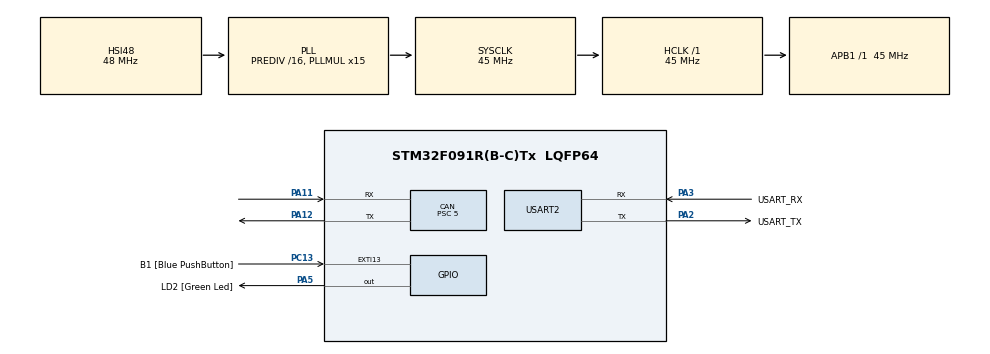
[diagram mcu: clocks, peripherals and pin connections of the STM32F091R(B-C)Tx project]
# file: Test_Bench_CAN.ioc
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CAN.BS1=CAN_BS1_15TQ
CAN.BS2=CAN_BS2_2TQ
CAN.CalculateBaudRate=500000
CAN.CalculateTimeBit=2000
CAN.CalculateTimeQuantum=111.11111111111111
CAN.Mode=CAN_MODE_LOOPBACK
CAN.Prescaler=5
Mcu.Family=STM32F0
Mcu.Name=STM32F091R(B-C)Tx
Mcu.Package=LQFP64
NVIC.CEC_CAN_IRQn=true\:0\:0\:false\:false\:true\:true\:true\:true
PA11.GPIO_PuPd=GPIO_PULLUP
PA11.Mode=CAN_Activate
PA11.Signal=CAN_RX
PA12.Mode=CAN_Activate
PA12.Signal=CAN_TX
PA13.GPIO_Label=TMS
PA13.Mode=Serial_Wire
PA13.Signal=SYS_SWDIO
PA14.GPIO_Label=TCK
PA14.Mode=Serial_Wire
PA14.Signal=SYS_SWCLK
PA2.GPIO_Label=USART_TX
PA2.GPIO_Mode=GPIO_MODE_AF_PP
PA2.GPIO_PuPd=GPIO_NOPULL
PA2.GPIO_Speed=GPIO_SPEED_FREQ_LOW
PA2.Mode=Asynchronous
PA2.Signal=USART2_TX
PA3.GPIO_Label=USART_RX
PA3.GPIO_Mode=GPIO_MODE_AF_PP
PA3.GPIO_PuPd=GPIO_NOPULL
PA3.GPIO_Speed=GPIO_SPEED_FREQ_LOW
PA3.Mode=Asynchronous
PA3.Signal=USART2_RX
PA5.GPIO_Label=LD2 [Green Led]
PA5.GPIO_Mode=GPIO_MODE_OUTPUT_PP
PA5.GPIO_PuPd=GPIO_NOPULL
PA5.GPIO_Speed=GPIO_SPEED_FREQ_LOW
PA5.Signal=GPIO_Output
PC13.GPIO_Label=B1 [Blue PushButton]
PC13.GPIO_ModeDefaultEXTI=GPIO_MODE_IT_FALLING
PC13.Signal=GPXTI13
PC14OSC32_IN.Mode=LSE-External-Oscillator
PC14OSC32_IN.Signal=RCC_OSC32_IN
PC15OSC32_OUT.Mode=LSE-External-Oscillator
PC15OSC32_OUT.Signal=RCC_OSC32_OUT
PF0-OSC_IN.Mode=HSE-External-Clock-Source
PF0-OSC_IN.Signal=RCC_OSC_IN
PF1-OSC_OUT.Signal=RCC_OSC_OUT
ProjectManager.HeapSize=0x200
ProjectManager.StackSize=0x400
ProjectManager.TargetToolchain=STM32CubeIDE
RCC.AHBFreq_Value=45000000
RCC.APB1Freq_Value=45000000
RCC.APB1TimFreq_Value=45000000
RCC.FLatency-AdvancedSettings=FLASH_LATENCY_1
RCC.HCLKFreq_Value=45000000
RCC.PLLDivider=RCC_PREDIV_DIV16
RCC.PLLMUL=RCC_PLL_MUL15
RCC.PLLSourceVirtual=RCC_PLLSOURCE_HSI48
RCC.PREFETCH_ENABLE-AdvancedSettings=1
RCC.SYSCLKFreq_VALUE=45000000
RCC.SYSCLKSource=RCC_SYSCLKSOURCE_PLLCLK
USART2.VirtualMode=VM_ASYNC
USART2.VirtualMode-Asynchronous=VM_ASYNC
board=NUCLEO-F091RC

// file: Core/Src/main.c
/* USER CODE BEGIN Header */
/**
  ******************************************************************************
  * @file           : main.c
  * @brief          : Main program body
  ******************************************************************************
  * @attention
  *
  * Copyright (c) 2025 STMicroelectronics.
  * All rights reserved.
  *
  * This software is licensed under terms that can be found in the LICENSE file
  * in the root directory of this software component.
  * If no LICENSE file comes with this software, it is provided AS-IS.
  *
  ******************************************************************************
  */
/* USER CODE END Header */
#include "main.h"
#include "can.h"
#include "usart.h"
#include "gpio.h"

/* USER CODE BEGIN Includes */
#include <string.h>
#include <stdint.h>
#include "can_encode.h"
#include "can_decode.h"
/* USER CODE END Includes */

/* USER CODE BEGIN PV */
CAN_TxHeaderTypeDef   TxHeader; /* Header containing the information of the transmitted frame */
CAN_RxHeaderTypeDef   RxHeader; ; /* Header containing the information of the received frame */
uint8_t               TxData[8] = {0};  /* Buffer of the data to send */
uint8_t               RxData[8]; /* Buffer of the received data */
uint32_t              TxMailbox;  /* The number of the mail box that transmitted the Tx message */
/* USER CODE END PV */

void SystemClock_Config(void);

int main(void)
{

  /* MCU Configuration--------------------------------------------------------*/

  /* Reset of all peripherals, Initializes the Flash interface and the Systick. */
  HAL_Init();

  /* Configure the system clock */
  SystemClock_Config();

  /* Initialize all configured peripherals */
  MX_GPIO_Init();
  MX_USART2_UART_Init();
  MX_CAN_Init();
  /* USER CODE BEGIN 2 */

TxHeader.IDE = CAN_ID_STD;
TxHeader.RTR = CAN_RTR_DATA;
TxHeader.DLC = 8;
TxHeader.TransmitGlobalTime = DISABLE;

  /* USER CODE END 2 */

  /* Infinite loop */
  /* USER CODE BEGIN WHILE */
  while (1)
  {

	 /* Example values */
		// Encode BMS_STATUS
		/* =================== BMS_STATUS =================== */
		Encode_BMS_STATUS(
			350.5f,    // PACKVOLTS
			-120.2f,   // PACKAMPS
			76.0f,     // STATEOFCHARGE
			0, 0, 0, 0, 0, 1, 1, 0, // status bits
			TxData
			);
		while(HAL_CAN_GetTxMailboxesFreeLevel(&hcan) == 0);
		if(HAL_CAN_AddTxMessage(&hcan, &TxHeader, TxData, &TxMailbox) != HAL_OK) Error_Handler();

		/* =================== BMS_QUADVOLTS =================== */
		Encode_BMS_QUADVOLTS(
			12.34f, 12.45f, 12.56f, 12.67f, // QUAD1-4
			TxData
			);
		TxHeader.StdId = 1543; // Update CAN ID
		while(HAL_CAN_GetTxMailboxesFreeLevel(&hcan) == 0);
		if(HAL_CAN_AddTxMessage(&hcan, &TxHeader, TxData, &TxMailbox) != HAL_OK) Error_Handler();

		/* =================== BMS_CELLVOLTS =================== */
		Encode_BMS_CELLVOLTS(
			3.456f, 3.467f, 3.478f, 3.489f, // AVGVOLT1-4
			TxData
			);
		TxHeader.StdId = 1544;
		while(HAL_CAN_GetTxMailboxesFreeLevel(&hcan) == 0);
		if(HAL_CAN_AddTxMessage(&hcan, &TxHeader, TxData, &TxMailbox) != HAL_OK) Error_Handler();

		/* =================== BMS_TEMPS =================== */
		Encode_BMS_TEMPS(
			25.0f, 26.0f, 24.5f, 25.5f, // TEMP1-4
			TxData
			);
		TxHeader.StdId = 1545;
		while(HAL_CAN_GetTxMailboxesFreeLevel(&hcan) == 0);
		if(HAL_CAN_AddTxMessage(&hcan, &TxHeader, TxData, &TxMailbox) != HAL_OK) Error_Handler();

		/* Wait 100 ms → ~10 Hz overall loop */
		HAL_Delay(100);
    /* USER CODE END WHILE */

    /* USER CODE BEGIN 3 */
	  //https://community.st.com/t5/stm32-mcus/can-bxcan-bit-time-configuration-on-stm32-mcus/ta-p/689864
	  // how to set up the can periphrial
	  //https://community.st.com/t5/stm32-mcus/guide-to-can-bxcan-can2-0-configuration-in-loop-back-mode-on/ta-p/771119
	  //Can In loopback mode

  }
  /* USER CODE END 3 */
}

void SystemClock_Config(void)
{
  RCC_OscInitTypeDef RCC_OscInitStruct = {0};
  RCC_ClkInitTypeDef RCC_ClkInitStruct = {0};
  RCC_PeriphCLKInitTypeDef PeriphClkInit = {0};

  /** Initializes the RCC Oscillators according to the specified parameters
  * in the RCC_OscInitTypeDef structure.
  */
  RCC_OscInitStruct.OscillatorType = RCC_OSCILLATORTYPE_HSI48;
  RCC_OscInitStruct.HSI48State = RCC_HSI48_ON;
  RCC_OscInitStruct.PLL.PLLState = RCC_PLL_ON;
  RCC_OscInitStruct.PLL.PLLSource = RCC_PLLSOURCE_HSI48;
  RCC_OscInitStruct.PLL.PLLMUL = RCC_PLL_MUL15;
  RCC_OscInitStruct.PLL.PREDIV = RCC_PREDIV_DIV16;
  if (HAL_RCC_OscConfig(&RCC_OscInitStruct) != HAL_OK)
  {
    Error_Handler();
  }

  /** Initializes the CPU, AHB and APB buses clocks
  */
  RCC_ClkInitStruct.ClockType = RCC_CLOCKTYPE_HCLK|RCC_CLOCKTYPE_SYSCLK
                              |RCC_CLOCKTYPE_PCLK1;
  RCC_ClkInitStruct.SYSCLKSource = RCC_SYSCLKSOURCE_PLLCLK;
  RCC_ClkInitStruct.AHBCLKDivider = RCC_SYSCLK_DIV1;
  RCC_ClkInitStruct.APB1CLKDivider = RCC_HCLK_DIV1;

  if (HAL_RCC_ClockConfig(&RCC_ClkInitStruct, FLASH_LATENCY_1) != HAL_OK)
  {
    Error_Handler();
  }
  PeriphClkInit.PeriphClockSelection = RCC_PERIPHCLK_USART2;
  PeriphClkInit.Usart2ClockSelection = RCC_USART2CLKSOURCE_PCLK1;
  if (HAL_RCCEx_PeriphCLKConfig(&PeriphClkInit) != HAL_OK)
  {
    Error_Handler();
  }
}

/* USER CODE BEGIN 4 */
void HAL_CAN_RxFifo0MsgPendingCallback(CAN_HandleTypeDef *hcan)
{
    CAN_RxHeaderTypeDef rxHeader;

    // Get the incoming message
    if (HAL_CAN_GetRxMessage(hcan, CAN_RX_FIFO0, &rxHeader, RxData) != HAL_OK)
    {
        Error_Handler();
    }

    // Decode based on StdId
    switch(RxHeader.StdId)
    {
        case 1542: // BMS_STATUS
        {
            BMS_STATUS_t bmsStatus;
            Decode_BMS_STATUS(RxData, &bmsStatus);

            // Example usage:
            // float volts = bmsStatus.PACKVOLTS;
            // uint8_t fault = bmsStatus.FAULTED;
            break;
        }

        case 1543: // BMS_QUADVOLTS
        {
            BMS_QUADVOLTS_t quadVolts;
            Decode_BMS_QUADVOLTS(RxData, &quadVolts);

            // Example usage:
            // float q1 = quadVolts.QUAD1;
            break;
        }

        case 1544: // BMS_CELLVOLTS
        {
            BMS_CELLVOLTS_t cellVolts;
            Decode_BMS_CELLVOLTS(RxData, &cellVolts);
            break;
        }

        case 1545: // BMS_TEMPS
        {
            BMS_TEMPS_t bmsTemps;
            Decode_BMS_TEMPS(RxData, &bmsTemps);
            break;
        }

        case 516: // INVERTER_CTRL
        {
            INVERTER_CTRL_t inverterCtrl;
            Decode_INVERTER_CTRL(RxData, &inverterCtrl);
            break;
        }

        case 521: // SYS_STATUS
        {
            SYS_STATUS_t sysStatus;
            Decode_SYS_STATUS(RxData, &sysStatus);
            break;
        }

        default:
            // Unknown CAN ID — ignore or log
            break;
    }

}
/* USER CODE END 4 */

void Error_Handler(void)
{
  __disable_irq();
  while (1)
  {
  }
}
